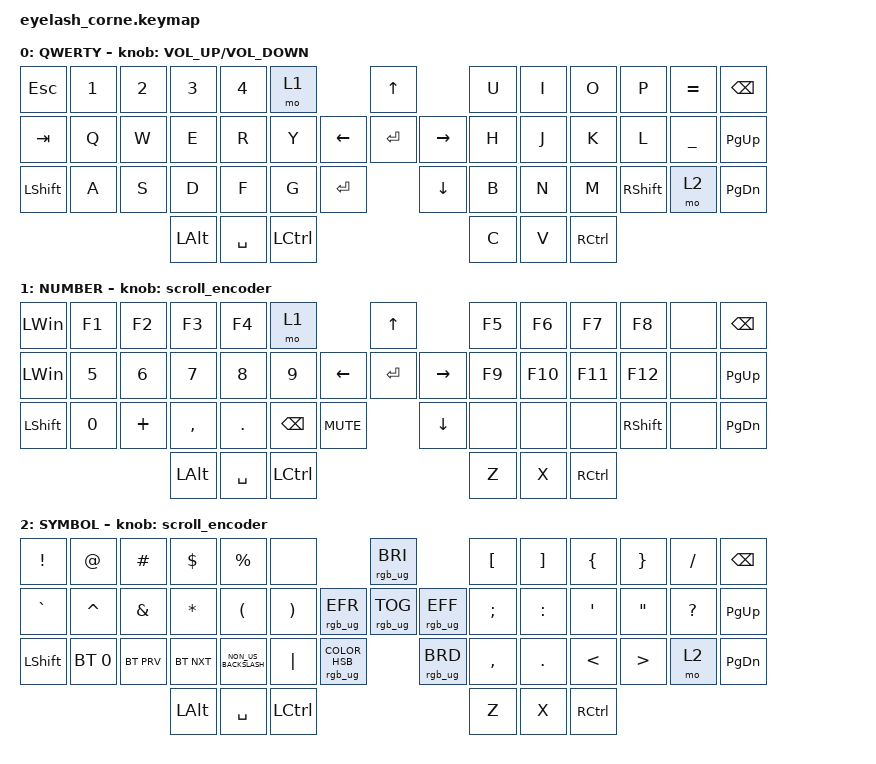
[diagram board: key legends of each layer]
#include <dt-bindings/zmk/mouse.h>
#include <input/processors.dtsi>
#include <behaviors.dtsi>
#include <dt-bindings/zmk/bt.h>
#include <dt-bindings/zmk/keys.h>
#include <dt-bindings/zmk/pointing.h>
#include <dt-bindings/zmk/rgb.h>

/*

   &mmv_input_listener {
       input-processors = <&zip_xy_scaler 2 1>;
   };

   &msc_input_listener {
       input-processors = <&zip_xy_scaler 2 1>;
   };

 */

#define ZMK_MOUSE_DEFAULT_MOVE_VAL 1200  // 600
#define ZMK_MOUSE_DEFAULT_SCRL_VAL 20    // 10

/ {
    behaviors {
        td0: td0 {
            compatible = "zmk,behavior-tap-dance";
            display-name = "Shift/Caps Lock Tap Dance";
            #binding-cells = <0>;
            bindings = <&kp LEFT_SHIFT>, <&kp CAPS>;
        };
    };

    rgb_encoder: rgb_encoder {
        compatible = "zmk,behavior-sensor-rotate";
        #sensor-binding-cells = <0>;
        bindings = <&rgb_ug RGB_BRI>, <&rgb_ug RGB_BRD>;
    };

    scroll_encoder: scroll_encoder {
        compatible = "zmk,behavior-sensor-rotate";
        #sensor-binding-cells = <0>;
        bindings = <&msc SCRL_DOWN>, <&msc SCRL_UP>;

        tap-ms = <30>;
    };

    combos {
        compatible = "zmk,combos";

        Tkey {
            bindings = <&kp T>;
            key-positions = <5 18>;
        };
    };

    keymap {
        compatible = "zmk,keymap";

        default_layer {
            display-name = "QWERTY";
            bindings = <
&kp ESCAPE      &kp NUMBER_1  &kp NUMBER_2  &kp NUMBER_3  &kp NUMBER_4  &mo 1                             &kp UP                &kp U  &kp I  &kp O      &kp P            &kp EQUAL       &kp BSPC
&kp TAB         &kp Q         &kp W         &kp E         &kp R         &kp Y                   &kp LEFT  &kp ENTER  &kp RIGHT  &kp H  &kp J  &kp K      &kp L            &kp UNDERSCORE  &kp PAGE_UP
&kp LEFT_SHIFT  &kp A         &kp S         &kp D         &kp F         &kp G      &kp ENTER              &kp DOWN              &kp B  &kp N  &kp M      &kp RIGHT_SHIFT  &mo 2           &kp PAGE_DOWN
                                            &kp LEFT_ALT  &kp SPACE     &kp LCTRL                                               &kp C  &kp V  &kp RCTRL
            >;

            sensor-bindings = <&inc_dec_kp C_VOLUME_UP C_VOLUME_DOWN>;
        };

        lower_layer {
            display-name = "NUMBER";
            bindings = <
&kp LEFT_WIN    &kp F1  &kp F2        &kp F3        &kp F4      &mo 1                                        &kp UP_ARROW                     &kp F5  &kp F6   &kp F7     &kp F8           &none  &kp BSPC
&kp LEFT_WIN    &kp N5  &kp NUMBER_6  &kp N7        &kp N8      &kp N9                       &kp LEFT_ARROW  &kp ENTER       &kp RIGHT_ARROW  &kp F9  &kp F10  &kp F11    &kp F12          &none  &kp PG_UP
&kp LEFT_SHIFT  &kp N0  &kp PLUS      &kp COMMA     &kp PERIOD  &kp BACKSPACE  &kp C_MUTE                    &kp DOWN_ARROW                   &none   &none    &none      &kp RIGHT_SHIFT  &none  &kp PG_DN
                                      &kp LEFT_ALT  &kp SPACE   &kp LCTRL                                                                     &kp Z   &kp X    &kp RCTRL
            >;

            sensor-bindings = <&scroll_encoder>;
        };

        raise_layer {
            display-name = "SYMBOL";
            bindings = <
&kp EXCLAMATION  &kp AT_SIGN   &kp HASH       &kp DOLLAR    &kp PERCENT           &none                                                                     &rgb_ug RGB_BRI                   &kp LBKT       &kp RIGHT_BRACKET  &kp LEFT_BRACE  &kp RIGHT_BRACE    &kp SLASH     &kp BSPC
&kp GRAVE        &kp CARET     &kp AMPERSAND  &kp ASTERISK  &kp LEFT_PARENTHESIS  &kp RIGHT_PARENTHESIS                                    &rgb_ug RGB_EFR  &rgb_ug RGB_TOG  &rgb_ug RGB_EFF  &kp SEMICOLON  &kp COLON          &kp SQT         &kp DOUBLE_QUOTES  &kp QUESTION  &kp PAGE_UP
&kp LEFT_SHIFT   &bt BT_SEL 0  &bt BT_PRV     &bt BT_NXT    &kp NON_US_BACKSLASH  &kp PIPE               &rgb_ug RGB_COLOR_HSB(0,0,100)                     &rgb_ug RGB_BRD                   &kp COMMA      &kp PERIOD         &kp LESS_THAN   &kp GREATER_THAN   &mo 2         &kp PAGE_DOWN
                                              &kp LEFT_ALT  &kp SPACE             &kp LEFT_CONTROL                                                                                            &kp Z          &kp X              &kp RCTRL
            >;

            sensor-bindings = <&scroll_encoder>;
        };
    };
};
